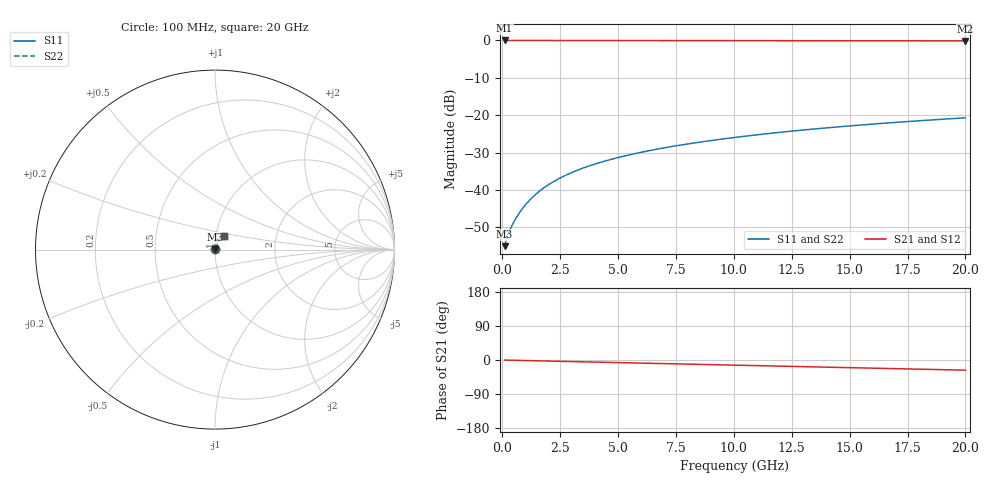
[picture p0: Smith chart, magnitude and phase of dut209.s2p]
! Touchstone file exported from HFSS 2026.1.0
!  File:  C:/ffzhzh/LocalFiles/Ansys_Project_Files/temp_train_TMRDL_209_1782984121_42984.aedt
!  Generated:  05:23:14 PM Jul  2, 2026
!  Design:  TMRDL
!  Project:  temp_train_TMRDL_209_1782984121_42984
! Variables:
!  h_bsmrdl = 2um
!  h_ox = 20um
!  h_rdl = 5um
!  h_sub = 80um
!  h_tmrdl = 4.73um
!  h_tsv = 80um
!  h_via = 3um
!  l_bsmrdl = 300um
!  l_sub = 856.75um
!  l_tmrdl = 456.75um
!  m_sub = 200um
!  pitch = 35.27um
!  r_tsv = 6um
!  s_tmrdl = 10um
!  w_bsmrdl = 18um
!  w_sub = 500um
!  w_tmrdl = 26.32um
!  x_tsv_center1 = 469.91um
!  x_tsv_center2 = 787.91um
!  x_tsv_center3 = 1270.98um
!  x_tsv_center4 = 1588.98um
!  x_tsv_center5 = 2072.05um
!  x_tsv_center6 = 2390.05um
# GHz S MA R 50.000000
! Terminal data exported
! Port[1] = TM_RDL1_1_T1
! Port[2] = TM_RDL1_1_T2
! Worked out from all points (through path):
!   200 points, 100 MHz to 20 GHz, reference 50 ohm
!   highest |S21| = -0.01 dB at 100 MHz (marker M1); lowest = -0.1 dB at 20 GHz (marker M2)
!   group delay of S21, straight-line fit = 3.71 ps
!   lowest |S11| = -55.1 dB at 100 MHz (marker M3), VSWR 1.00, Z = 50.2 + j0.0847 ohm
!   |S11| at or under -10 dB: start of sweep to end of sweep
!   |S22| runs from -55.1 to -20.7 dB; largest |S21 - S12| = 3.2e-15
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0.1  0.001765 28.6  0.9985 -0.2  0.9985 -0.2  0.001765 28.6
! Gamma 0 0 0 0
! Port Impedance 50 0 50 0
0.2  0.002301 40.1  0.9982 -0.3  0.9982 -0.3  0.002305 40.2
0.3  0.002782 46.8  0.9981 -0.4  0.9981 -0.4  0.00279 46.9
0.4  0.003248 52.1  0.998 -0.6  0.998 -0.6  0.003257 52.1
0.5  0.003725 56.3  0.9979 -0.7  0.9979 -0.7  0.003734 56.2
0.7  0.004727 62.5  0.9978 -1.0  0.9978 -1.0  0.004733 62.4
0.9  0.005776 66.5  0.9977 -1.3  0.9977 -1.3  0.005778 66.3
1.1  0.006851 69.1  0.9976 -1.5  0.9976 -1.5  0.00685 69.0
1.3  0.007938 70.9  0.9975 -1.8  0.9975 -1.8  0.007936 70.8
1.7  0.01012 72.9  0.9973 -2.4  0.9973 -2.4  0.01012 72.9
2.2  0.01283 74.0  0.997 -3.1  0.997 -3.1  0.01282 74.0
2.8  0.01602 74.4  0.9966 -3.9  0.9966 -3.9  0.01601 74.4
3.5  0.01963 74.2  0.9961 -4.9  0.9961 -4.9  0.01963 74.2
4.2  0.02315 73.8  0.9956 -5.8  0.9956 -5.8  0.02315 73.8
5  0.02708 73.2  0.995 -6.9  0.995 -6.9  0.02708 73.1
5.9  0.03139 72.4  0.9943 -8.1  0.9943 -8.1  0.03139 72.3
6.8  0.03561 71.6  0.9937 -9.3  0.9937 -9.3  0.03562 71.5
8.3  0.04251 70.1  0.9927 -11.3  0.9927 -11.3  0.04252 70.0
10.1  0.0506 68.3  0.9916 -13.7  0.9916 -13.7  0.05061 68.2
13.4  0.06499 64.7  0.9896 -18.1  0.9896 -18.1  0.06501 64.6
16.7  0.07883 61.0  0.9876 -22.5  0.9876 -22.5  0.07886 60.8
20  0.09206 57.1  0.9857 -26.8  0.9857 -26.8  0.09209 56.9
